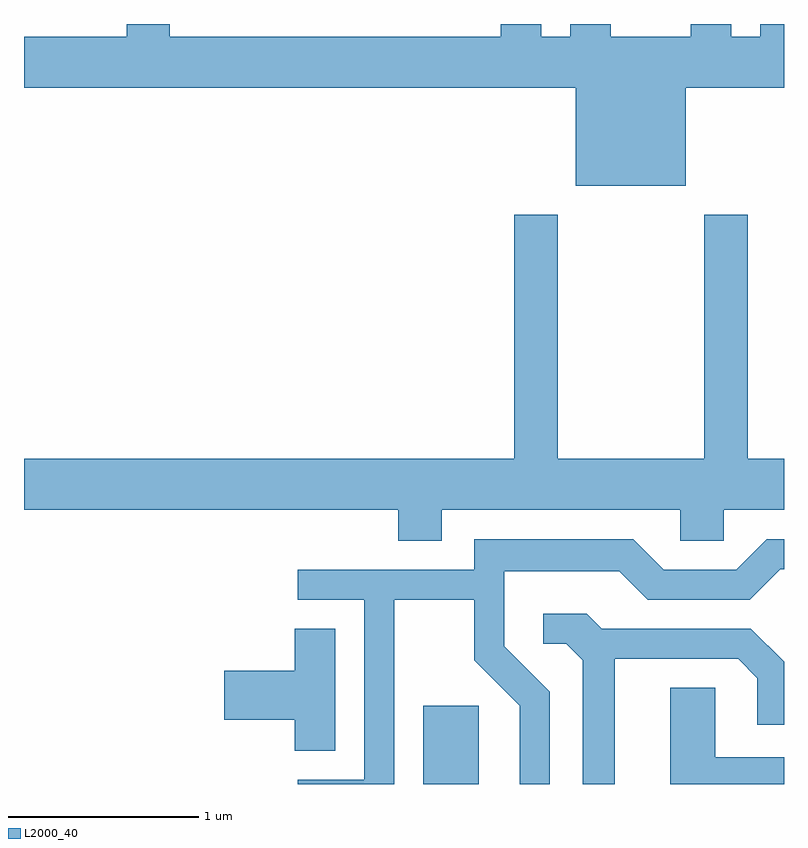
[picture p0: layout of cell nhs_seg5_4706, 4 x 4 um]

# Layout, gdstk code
import gdstk
lib = gdstk.Library(unit=1e-6, precision=1e-09)
def R(c, l, rs):  # rectangles x0, y0, x1, y1
    for r in rs: c.add(gdstk.rectangle(r[:2], r[2:], *l))
def P(c, l, *ps):  # polygons
    for p in ps: c.add(gdstk.Polygon(p, *l))
L2000_40 = (2000, 40)

nhs_seg5_4706 = lib.new_cell('nhs_seg5_4706')
R(nhs_seg5_4706, L2000_40, [(327.711,1402.072,328.004,1402.484)])
P(nhs_seg5_4706, L2000_40, [(329.094,1405.736),(329.611,1405.736),(329.611,1406.072),(329.486,1406.072),(329.486,1406.004),(329.334,1406.004),(329.334,1406.072),(329.121,1406.072),(329.121,1406.004),(328.699,1406.004),(328.699,1406.072),(328.486,1406.072),(328.486,1406.004),(328.334,1406.004),(328.334,1406.072),(328.121,1406.072),(328.121,1406.004),(326.379,1406.004),(326.379,1406.072),(326.151,1406.072),(326.151,1406.004),(325.611,1406.004),(325.611,1405.736),(328.516,1405.736),(328.516,1405.221),(329.094,1405.221)],
  [(328.419,1405.069),(328.191,1405.069),(328.191,1403.784),(325.611,1403.784),(325.611,1403.516),(327.581,1403.516),(327.581,1403.351),(327.809,1403.351),(327.809,1403.516),(329.066,1403.516),(329.066,1403.351),(329.294,1403.351),(329.294,1403.516),(329.611,1403.516),(329.611,1403.784),(329.419,1403.784),(329.419,1405.069),(329.191,1405.069),(329.191,1403.784),(328.419,1403.784)],
  [(327.559,1403.041),(327.981,1403.041),(327.981,1402.724),(328.221,1402.484),(328.221,1402.072),(328.379,1402.072),(328.379,1402.557),(328.139,1402.797),(328.139,1403.191),(328.744,1403.191),(328.894,1403.041),(329.432,1403.041),(329.592,1403.201),(329.611,1403.201),(329.611,1403.359),(329.519,1403.359),(329.359,1403.199),(328.977,1403.199),(328.817,1403.359),(327.981,1403.359),(327.981,1403.199),(327.053,1403.199),(327.053,1403.041),(327.401,1403.041),(327.401,1402.094),(327.053,1402.094),(327.053,1402.072),(327.559,1402.072)],
  [(328.719,1402.731),(329.369,1402.731),(329.471,1402.629),(329.471,1402.383),(329.611,1402.383),(329.611,1402.715),(329.437,1402.889),(328.652,1402.889),(328.572,1402.969),(328.343,1402.969),(328.343,1402.811),(328.464,1402.811),(328.551,1402.724),(328.551,1402.072),(328.719,1402.072)],
  [(327.249,1402.889),(327.036,1402.889),(327.036,1402.669),(326.666,1402.669),(326.666,1402.411),(327.036,1402.411),(327.036,1402.246),(327.249,1402.246)],
  [(329.611,1402.214),(329.249,1402.214),(329.249,1402.579),(329.011,1402.579),(329.011,1402.072),(329.611,1402.072)])

lib.write_gds('nhs_seg5_4706.gds')
